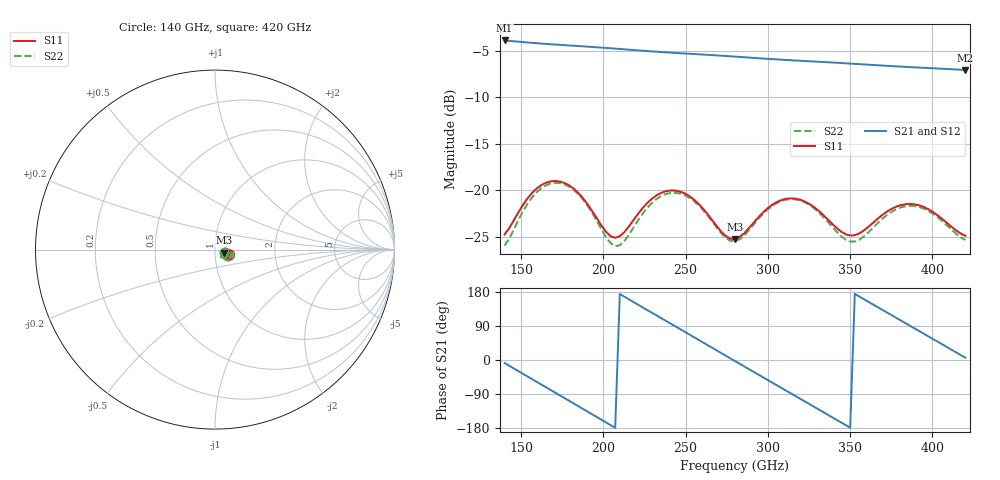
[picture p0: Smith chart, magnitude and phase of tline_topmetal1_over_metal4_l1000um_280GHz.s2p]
#  GHZ S DB R 50
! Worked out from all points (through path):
!   101 points, 140 GHz to 420 GHz, reference 50 ohm
!   highest |S21| = -3.91 dB at 140 GHz (marker M1); lowest = -7.1 dB at 420 GHz (marker M2)
!   group delay of S21, straight-line fit = 7 ps
!   lowest |S11| = -25.2 dB at 280 GHz (marker M3), VSWR 1.12, Z = 55.4 - j1.89 ohm
!   |S11| at or under -10 dB: start of sweep to end of sweep
!   |S22| runs from -26.0 to -19.2 dB; largest |S21 - S12| = 8.5e-13
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140  -24.77 -14.2  -3.91 -8.0  -3.91 -8.0  -25.97 -18.4
151.2  -21.58 -2.3  -4.09 -36.6  -4.09 -36.6  -22.26 -2.3
165.2  -19.20 -14.0  -4.29 -72.1  -4.29 -72.1  -19.48 -14.8
176.4  -19.23 -27.8  -4.42 -100.5  -4.42 -100.5  -19.38 -29.9
187.6  -20.87 -38.7  -4.55 -129.0  -4.55 -129.0  -20.99 -42.3
198.8  -23.80 -37.1  -4.68 -157.5  -4.68 -157.5  -24.19 -42.8
210  -24.96 -15.2  -4.83 174.0  -4.83 174.0  -25.93 -18.7
221.2  -22.53 -3.7  -4.98 145.6  -4.98 145.6  -23.22 -4.0
235.2  -20.29 -12.4  -5.16 110.3  -5.16 110.3  -20.63 -12.9
254.8  -20.98 -32.6  -5.37 60.9  -5.37 60.9  -21.14 -34.3
268.8  -23.85 -34.8  -5.52 25.5  -5.52 25.5  -24.00 -37.5
280  -25.25 -18.1  -5.65 -2.8  -5.65 -2.8  -25.50 -21.1
291.2  -23.52 -5.1  -5.79 -31.0  -5.79 -31.0  -23.72 -7.8
305.2  -21.30 -10.1  -5.95 -66.1  -5.95 -66.1  -21.40 -13.3
316.4  -20.91 -20.2  -6.06 -94.2  -6.06 -94.2  -20.98 -24.3
327.6  -21.77 -29.1  -6.17 -122.4  -6.17 -122.4  -21.89 -34.3
350  -24.88 -20.1  -6.40 -178.7  -6.40 -178.7  -25.52 -25.5
361.2  -23.93 -8.6  -6.52 153.2  -6.52 153.2  -24.52 -11.7
375.2  -22.01 -10.4  -6.67 118.1  -6.67 118.1  -22.32 -13.2
394.8  -21.82 -25.2  -6.86 69.1  -6.86 69.1  -21.99 -29.5
408.8  -23.53 -30.1  -6.98 34.1  -6.98 34.1  -23.79 -35.5
420  -24.91 -23.3  -7.09 6.0  -7.09 6.0  -25.36 -28.7
